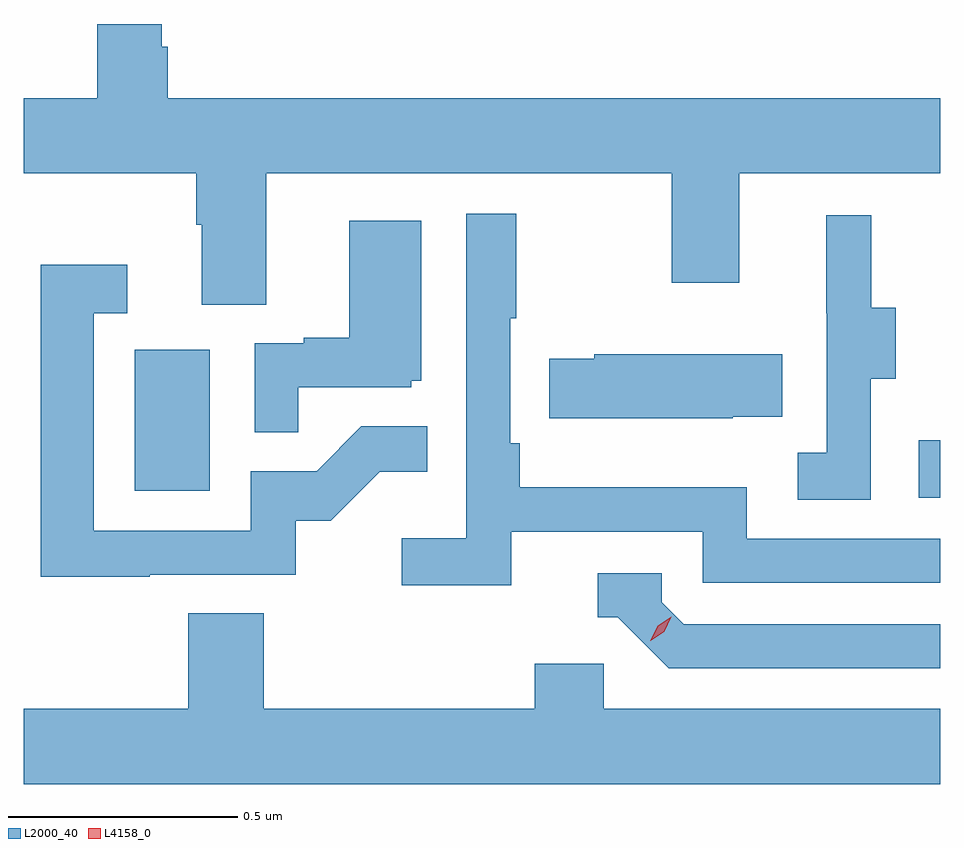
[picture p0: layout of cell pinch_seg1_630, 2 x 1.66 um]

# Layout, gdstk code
import gdstk
lib = gdstk.Library(unit=1e-6, precision=1e-09)
def R(c, l, rs):  # rectangles x0, y0, x1, y1
    for r in rs: c.add(gdstk.rectangle(r[:2], r[2:], *l))
def P(c, l, *ps):  # polygons
    for p in ps: c.add(gdstk.Polygon(p, *l))
L2000_40 = (2000, 40)
L4158_0 = (4158, 0)

pinch_seg1_630 = lib.new_cell('pinch_seg1_630')
R(pinch_seg1_630, L2000_40, [(1083.891,507.069,1083.938,507.194), (1082.18,507.084,1082.344,507.391)])
P(pinch_seg1_630, L2000_40, [(1082.467,507.776),(1083.352,507.776),(1083.352,507.537),(1083.499,507.537),(1083.499,507.776),(1083.938,507.776),(1083.938,507.94),(1082.252,507.94),(1082.252,508.052),(1082.239,508.052),(1082.239,508.102),(1082.099,508.102),(1082.099,507.94),(1081.938,507.94),(1081.938,507.776),(1082.315,507.776),(1082.315,507.664),(1082.327,507.664),(1082.327,507.49),(1082.467,507.49)],
  [(1083.002,506.994),(1083.42,506.994),(1083.42,506.883),(1083.938,506.883),(1083.938,506.979),(1083.516,506.979),(1083.516,507.091),(1083.02,507.091),(1083.02,507.187),(1083,507.187),(1083,507.46),(1083.013,507.46),(1083.013,507.688),(1082.904,507.688),(1082.904,506.98),(1082.763,506.98),(1082.763,506.878),(1083.002,506.878)],
  [(1083.786,507.328),(1083.841,507.328),(1083.841,507.483),(1083.787,507.483),(1083.787,507.685),(1083.689,507.685),(1083.689,507.471),(1083.69,507.471),(1083.69,507.167),(1083.627,507.167),(1083.627,507.064),(1083.786,507.064)],
  [(1082.537,507.309),(1082.784,507.309),(1082.784,507.324),(1082.806,507.324),(1082.806,507.673),(1082.648,507.673),(1082.648,507.418),(1082.549,507.418),(1082.549,507.405),(1082.442,507.405),(1082.442,507.211),(1082.537,507.211)],
  [(1082.213,506.901),(1082.532,506.901),(1082.532,507.018),(1082.608,507.018),(1082.715,507.125),(1082.819,507.125),(1082.819,507.224),(1082.675,507.224),(1082.577,507.126),(1082.433,507.126),(1082.433,506.997),(1082.091,506.997),(1082.091,507.471),(1082.164,507.471),(1082.164,507.577),(1081.975,507.577),(1081.975,506.896),(1082.213,506.896)],
  [(1083.485,507.245),(1083.593,507.245),(1083.593,507.382),(1083.183,507.382),(1083.183,507.372),(1083.085,507.372),(1083.085,507.242),(1083.485,507.242)],
  [(1083.938,506.793),(1083.378,506.793),(1083.33,506.841),(1083.33,506.904),(1083.191,506.904),(1083.191,506.808),(1083.234,506.808),(1083.345,506.697),(1083.938,506.697)],
  [(1083.938,506.608),(1083.204,506.608),(1083.204,506.706),(1083.053,506.706),(1083.053,506.608),(1082.462,506.608),(1082.462,506.816),(1082.297,506.816),(1082.297,506.608),(1081.938,506.608),(1081.938,506.444),(1083.938,506.444)])
P(pinch_seg1_630, L4158_0, [(1083.305,506.756),(1083.305,506.756),(1083.321,506.789),(1083.351,506.809),(1083.351,506.809),(1083.351,506.809),(1083.336,506.776),(1083.306,506.756)])

lib.write_gds('pinch_seg1_630.gds')
